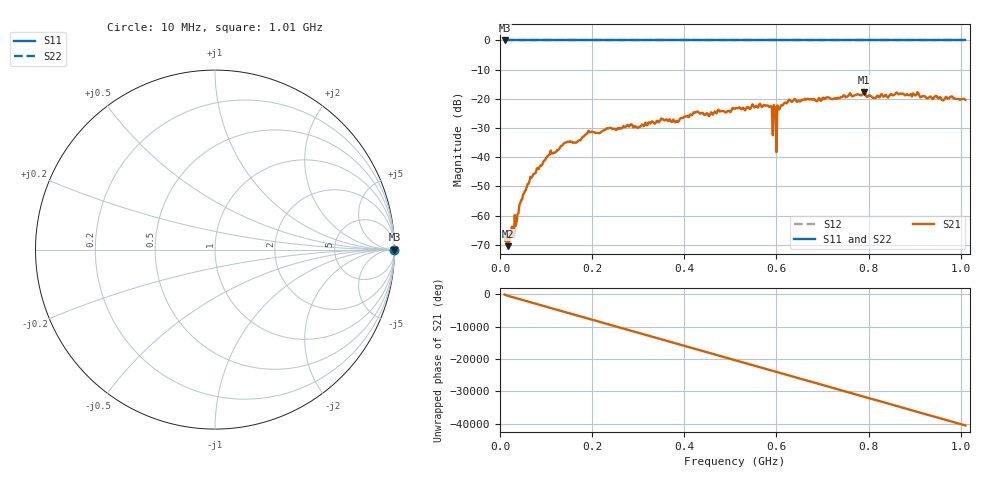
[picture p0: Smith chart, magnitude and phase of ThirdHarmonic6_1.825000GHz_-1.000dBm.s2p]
! 8/16/2025 10:06:48 PM
! C:\ANRITSUVNA\TEMP\TEMP.S2P
! CHANNEL.1
! TR.MEASUREMENT
! RAW.DATA
! RF.CORRECTION.OFF
! AVERAGING.OFF
! IF.BANDWIDTH: 5KHZ
! SWEEPTYPE:  FREQ.SWEEP(Linear)
! Reference Plane Port Info
! PORT:  PORT1  PORT2
! DISTANCE:  0  m  0  m
! TIME:  0  s  0  s
! PHASE.OFFSET:  0  deg.  0  deg.
! LOSS:  0  dB  0  dB
! REF.LOSS:  0  dB  0  dB
! REF.FREQ:  0  Hz  0  Hz
! Power Info
! POWER:  -20  dBm  -20  dBm
! EFF.POWER:  -20  dBm  -20  dBm
! SOURCE.ATTEN:  0  dB  0  dB
! TEST.ATTEN:  0  dB  0  dB
# GHZ S RI R 50.0
! FREQ.GHZ  S11RE  S11IM  S21RE  S21IM  S12RE  S12IM  S22RE  S22IM
!; PortSelection: Port_12
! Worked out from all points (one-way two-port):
!   501 points, 10 MHz to 1.01 GHz, reference 50 ohm
!   highest |S21| = -17.71 dB at 790 MHz (marker M1); lowest = -70.5 dB at 18 MHz (marker M2)
!   lowest |S11| = 0.0 dB at 10 MHz (marker M3)
!   |S11| at or under -10 dB: nowhere
!   |S22| runs from 0.0 to 0.0 dB; largest |S21 - S12| = 1.1
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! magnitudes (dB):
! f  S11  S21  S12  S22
! 10 MHz  0.0  -67.4  0.0  0.0
! 18 MHz  0.0  -70.5  0.0  0.0
! 32 MHz  0.0  -59.8  0.0  0.0
! 46 MHz  0.0  -54.7  0.0  0.0
! 70 MHz  0.0  -46.7  0.0  0.0
! 106 MHz  0.0  -39.3  0.0  0.0
! 178 MHz  0.0  -33.3  0.0  0.0
! 196 MHz  0.0  -31.3  0.0  0.0
! 344 MHz  0.0  -28.0  0.0  0.0
! 510 MHz  0.0  -23.4  0.0  0.0
! 584 MHz  0.0  -22.8  0.0  0.0
! 588 MHz  0.0  -22.5  0.0  0.0
! 594 MHz  0.0  -22.1  0.0  0.0
! 596 MHz  0.0  -22.6  0.0  0.0
! 598 MHz  0.0  -23.5  0.0  0.0
! 604 MHz  0.0  -23.1  0.0  0.0
! 606 MHz  0.0  -23.7  0.0  0.0
! 624 MHz  0.0  -21.3  0.0  0.0
! 678 MHz  0.0  -20.3  0.0  0.0
! 790 MHz  0.0  -17.7  0.0  0.0
! 844 MHz  0.0  -19.2  0.0  0.0
! 1.01 GHz  0.0  -20.3  0.0  0.0
